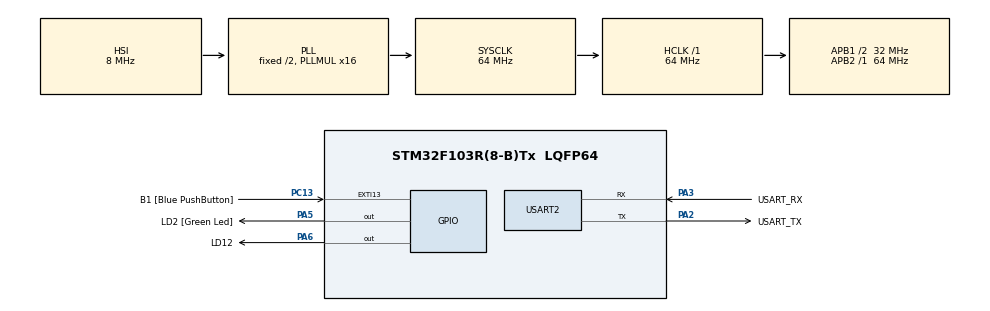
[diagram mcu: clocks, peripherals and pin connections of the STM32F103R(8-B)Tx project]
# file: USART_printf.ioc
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Mcu.Family=STM32F1
Mcu.Name=STM32F103R(8-B)Tx
Mcu.Package=LQFP64
NVIC.EXTI15_10_IRQn=true\:0\:0\:false\:false\:true\:true\:true\:true
NVIC.PriorityGroup=NVIC_PRIORITYGROUP_4
PA13.GPIO_Label=TMS
PA13.Mode=Serial_Wire
PA13.Signal=SYS_JTMS-SWDIO
PA14.GPIO_Label=TCK
PA14.Mode=Serial_Wire
PA14.Signal=SYS_JTCK-SWCLK
PA2.GPIO_Label=USART_TX
PA2.GPIO_Mode=GPIO_MODE_AF_PP
PA2.GPIO_PuPd=GPIO_NOPULL
PA2.GPIO_Speed=GPIO_SPEED_FREQ_LOW
PA2.Mode=Asynchronous
PA2.Signal=USART2_TX
PA3.GPIO_Label=USART_RX
PA3.GPIO_Mode=GPIO_MODE_AF_PP
PA3.GPIO_PuPd=GPIO_NOPULL
PA3.GPIO_Speed=GPIO_SPEED_FREQ_LOW
PA3.Mode=Asynchronous
PA3.Signal=USART2_RX
PA5.GPIO_Label=LD2 [Green Led]
PA5.GPIO_ModeDefaultOutputPP=GPIO_MODE_OUTPUT_PP
PA5.GPIO_PuPd=GPIO_NOPULL
PA5.GPIO_Speed=GPIO_SPEED_FREQ_LOW
PA5.Signal=GPIO_Output
PA6.GPIO_Label=LD12
PA6.Signal=GPIO_Output
PB3.GPIO_Label=SWO
PB3.Signal=SYS_JTDO-TRACESWO
PC13-TAMPER-RTC.GPIO_Label=B1 [Blue PushButton]
PC13-TAMPER-RTC.GPIO_PuPd=GPIO_NOPULL
PC13-TAMPER-RTC.Signal=GPXTI13
PC14-OSC32_IN.Signal=RCC_OSC32_IN
PC15-OSC32_OUT.Signal=RCC_OSC32_OUT
PD0-OSC_IN.Signal=RCC_OSC_IN
PD1-OSC_OUT.Signal=RCC_OSC_OUT
ProjectManager.HeapSize=0x200
ProjectManager.StackSize=0x400
ProjectManager.TargetToolchain=STM32CubeIDE
RCC.AHBFreq_Value=64000000
RCC.APB1CLKDivider=RCC_HCLK_DIV2
RCC.APB1Freq_Value=32000000
RCC.APB1TimFreq_Value=64000000
RCC.APB2Freq_Value=64000000
RCC.APB2TimFreq_Value=64000000
RCC.HCLKFreq_Value=64000000
RCC.PLLMUL=RCC_PLL_MUL16
RCC.RTCClockSelection=RCC_RTCCLKSOURCE_LSE
RCC.SYSCLKFreq_VALUE=64000000
RCC.SYSCLKSource=RCC_SYSCLKSOURCE_PLLCLK
RCC.USBFreq_Value=64000000
USART2.VirtualMode=VM_ASYNC
board=NUCLEO-F103RB

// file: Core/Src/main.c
/* USER CODE BEGIN Header */
/**
  ******************************************************************************
  * @file           : main.c
  * @brief          : Main program body
  ******************************************************************************
  * @attention
  *
  * Copyright (c) 2024 STMicroelectronics.
  * All rights reserved.
  *
  * This software is licensed under terms that can be found in the LICENSE file
  * in the root directory of this software component.
  * If no LICENSE file comes with this software, it is provided AS-IS.
  *
  ******************************************************************************
  */
/* USER CODE END Header */
#include "main.h"

/* USER CODE BEGIN Includes */
#include <stdio.h>
/* USER CODE END Includes */

UART_HandleTypeDef huart2;

void SystemClock_Config(void);
static void MX_GPIO_Init(void);
static void MX_USART2_UART_Init(void);

/* USER CODE BEGIN 0 */
#ifdef __GNUC__

#define PUTCHAR_PROTOTYPE int __io_putchar(int ch)
#else
#define PUTCHAR_PROTOTYPE int fputc(int ch, FILE *f)
#endif

PUTCHAR_PROTOTYPE
{
	if(ch =='\n')
	HAL_UART_Transmit (&huart2, (uint8_t*) "\r", 1, 0xFFFF);
	HAL_UART_Transmit (&huart2, (uint8_t*) &ch, 1, 0xFFFF);

	return ch;

}

void PrintAndToggleLED(int time) {

    GPIO_PinState pinStatus = HAL_GPIO_ReadPin(LD12_GPIO_Port, LD12_Pin);
    // Print the pin status
    if (pinStatus == GPIO_PIN_SET) {
        printf("LD12 GPIO Pin Status: High (SET)\n");
        HAL_GPIO_WritePin(LD12_GPIO_Port, LD12_Pin, GPIO_PIN_RESET); // Set LD12 low
        HAL_GPIO_WritePin(LD2_GPIO_Port, LD2_Pin, GPIO_PIN_SET);      // Set LD2 high
    } else {
        printf("LD12 GPIO Pin Status: Low (RESET)\n");
        HAL_GPIO_WritePin(LD2_GPIO_Port, LD2_Pin, GPIO_PIN_RESET);    // Set LD2 low
        HAL_GPIO_WritePin(LD12_GPIO_Port, LD12_Pin, GPIO_PIN_SET);    // Set LD12 high
    }

    HAL_Delay(time);
}
/* USER CODE END 0 */

int main(void)
{

  /* MCU Configuration--------------------------------------------------------*/

  /* Reset of all peripherals, Initializes the Flash interface and the Systick. */
  HAL_Init();

  /* Configure the system clock */
  SystemClock_Config();

  /* Initialize all configured peripherals */
  MX_GPIO_Init();
  MX_USART2_UART_Init();

  /* Infinite loop */
  /* USER CODE BEGIN WHILE */
  while (1)
  {
	  PrintAndToggleLED(300);
	//  printf("LED has been toggled \n");

    /* USER CODE END WHILE */

  }
}

void SystemClock_Config(void)
{
  RCC_OscInitTypeDef RCC_OscInitStruct = {0};
  RCC_ClkInitTypeDef RCC_ClkInitStruct = {0};

  /** Initializes the RCC Oscillators according to the specified parameters
  * in the RCC_OscInitTypeDef structure.
  */
  RCC_OscInitStruct.OscillatorType = RCC_OSCILLATORTYPE_HSI;
  RCC_OscInitStruct.HSIState = RCC_HSI_ON;
  RCC_OscInitStruct.HSICalibrationValue = RCC_HSICALIBRATION_DEFAULT;
  RCC_OscInitStruct.PLL.PLLState = RCC_PLL_ON;
  RCC_OscInitStruct.PLL.PLLSource = RCC_PLLSOURCE_HSI_DIV2;
  RCC_OscInitStruct.PLL.PLLMUL = RCC_PLL_MUL16;
  if (HAL_RCC_OscConfig(&RCC_OscInitStruct) != HAL_OK)
  {
    Error_Handler();
  }

  /** Initializes the CPU, AHB and APB buses clocks
  */
  RCC_ClkInitStruct.ClockType = RCC_CLOCKTYPE_HCLK|RCC_CLOCKTYPE_SYSCLK
                              |RCC_CLOCKTYPE_PCLK1|RCC_CLOCKTYPE_PCLK2;
  RCC_ClkInitStruct.SYSCLKSource = RCC_SYSCLKSOURCE_PLLCLK;
  RCC_ClkInitStruct.AHBCLKDivider = RCC_SYSCLK_DIV1;
  RCC_ClkInitStruct.APB1CLKDivider = RCC_HCLK_DIV2;
  RCC_ClkInitStruct.APB2CLKDivider = RCC_HCLK_DIV1;

  if (HAL_RCC_ClockConfig(&RCC_ClkInitStruct, FLASH_LATENCY_2) != HAL_OK)
  {
    Error_Handler();
  }
}

static void MX_USART2_UART_Init(void)
{

  huart2.Instance = USART2;
  huart2.Init.BaudRate = 115200;
  huart2.Init.WordLength = UART_WORDLENGTH_8B;
  huart2.Init.StopBits = UART_STOPBITS_1;
  huart2.Init.Parity = UART_PARITY_NONE;
  huart2.Init.Mode = UART_MODE_TX_RX;
  huart2.Init.HwFlowCtl = UART_HWCONTROL_NONE;
  huart2.Init.OverSampling = UART_OVERSAMPLING_16;
  if (HAL_UART_Init(&huart2) != HAL_OK)
  {
    Error_Handler();
  }

}

static void MX_GPIO_Init(void)
{
  GPIO_InitTypeDef GPIO_InitStruct = {0};

  /* GPIO Ports Clock Enable */
  __HAL_RCC_GPIOC_CLK_ENABLE();
  __HAL_RCC_GPIOD_CLK_ENABLE();
  __HAL_RCC_GPIOA_CLK_ENABLE();
  __HAL_RCC_GPIOB_CLK_ENABLE();

  /*Configure GPIO pin Output Level */
  HAL_GPIO_WritePin(GPIOA, LD2_Pin|LD12_Pin, GPIO_PIN_RESET);

  /*Configure GPIO pin : B1_Pin */
  GPIO_InitStruct.Pin = B1_Pin;
  GPIO_InitStruct.Mode = GPIO_MODE_IT_RISING;
  GPIO_InitStruct.Pull = GPIO_NOPULL;
  HAL_GPIO_Init(B1_GPIO_Port, &GPIO_InitStruct);

  /*Configure GPIO pins : LD2_Pin LD12_Pin */
  GPIO_InitStruct.Pin = LD2_Pin|LD12_Pin;
  GPIO_InitStruct.Mode = GPIO_MODE_OUTPUT_PP;
  GPIO_InitStruct.Pull = GPIO_NOPULL;
  GPIO_InitStruct.Speed = GPIO_SPEED_FREQ_LOW;
  HAL_GPIO_Init(GPIOA, &GPIO_InitStruct);

  /* EXTI interrupt init*/
  HAL_NVIC_SetPriority(EXTI15_10_IRQn, 0, 0);
  HAL_NVIC_EnableIRQ(EXTI15_10_IRQn);

}

void Error_Handler(void)
{
  __disable_irq();
  while (1)
  {
  }
}
